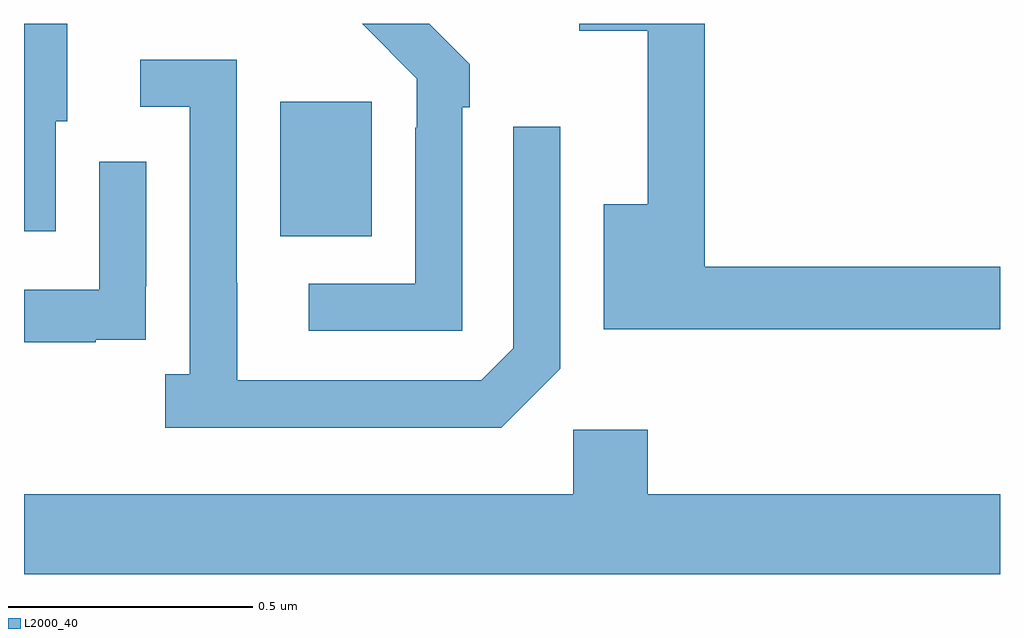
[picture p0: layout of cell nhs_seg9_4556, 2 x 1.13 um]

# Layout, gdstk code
import gdstk
lib = gdstk.Library(unit=1e-6, precision=1e-09)
def R(c, l, rs):  # rectangles x0, y0, x1, y1
    for r in rs: c.add(gdstk.rectangle(r[:2], r[2:], *l))
def P(c, l, *ps):  # polygons
    for p in ps: c.add(gdstk.Polygon(p, *l))
L2000_40 = (2000, 40)

nhs_seg9_4556 = lib.new_cell('nhs_seg9_4556')
R(nhs_seg9_4556, L2000_40, [(167.525,1245.065,167.713,1245.34)])
P(nhs_seg9_4556, L2000_40, [(167.065,1245.3),(167.089,1245.3),(167.089,1245.5),(167,1245.5),(167,1245.075),(167.065,1245.075)],
  [(167.898,1245.329),(167.913,1245.329),(167.913,1245.417),(167.83,1245.5),(167.693,1245.5),(167.805,1245.387),(167.805,1245.287),(167.802,1245.287),(167.802,1244.967),(167.583,1244.967),(167.583,1244.871),(167.898,1244.871)],
  [(169,1245.002),(168.395,1245.002),(168.395,1245.5),(168.138,1245.5),(168.138,1245.486),(168.278,1245.486),(168.278,1245.13),(168.188,1245.13),(168.188,1244.874),(169,1244.874)],
  [(168.099,1244.793),(168.099,1245.289),(168.003,1245.289),(168.003,1244.835),(167.937,1244.769),(167.437,1244.769),(167.437,1244.969),(167.436,1244.969),(167.436,1245.426),(167.238,1245.426),(167.238,1245.33),(167.34,1245.33),(167.34,1244.782),(167.289,1244.782),(167.289,1244.672),(167.978,1244.672)],
  [(167.147,1244.853),(167.249,1244.853),(167.249,1244.962),(167.25,1244.962),(167.25,1245.217),(167.154,1245.217),(167.154,1244.955),(167,1244.955),(167,1244.847),(167.147,1244.847)],
  [(169,1244.536),(168.278,1244.536),(168.278,1244.668),(168.126,1244.668),(168.126,1244.536),(167,1244.536),(167,1244.372),(169,1244.372)])

lib.write_gds('nhs_seg9_4556.gds')
